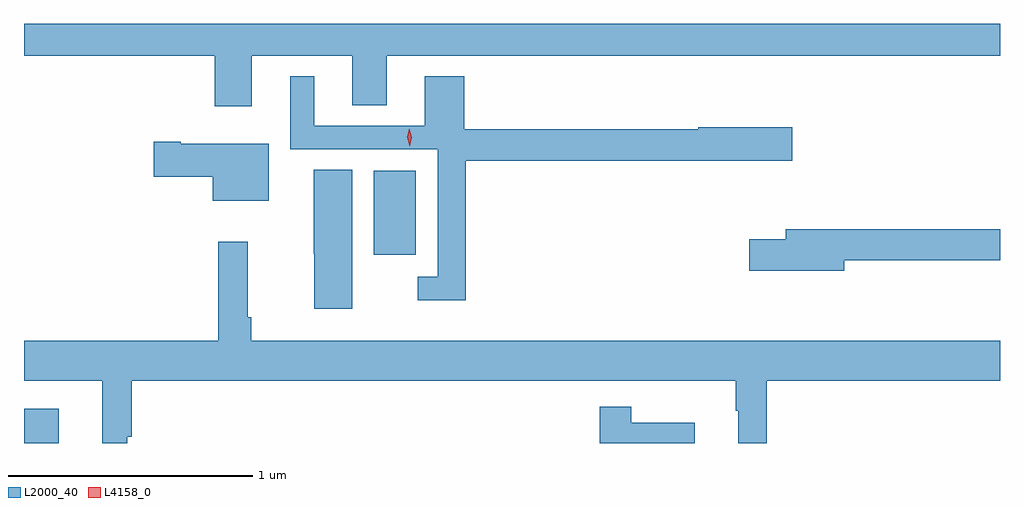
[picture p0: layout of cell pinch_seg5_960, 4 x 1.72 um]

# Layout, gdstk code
import gdstk
lib = gdstk.Library(unit=1e-6, precision=1e-09)
def R(c, l, rs):  # rectangles x0, y0, x1, y1
    for r in rs: c.add(gdstk.rectangle(r[:2], r[2:], *l))
def P(c, l, *ps):  # polygons
    for p in ps: c.add(gdstk.Polygon(p, *l))
L2000_40 = (2000, 40)
L4158_0 = (4158, 0)

pinch_seg5_960 = lib.new_cell('pinch_seg5_960')
R(pinch_seg5_960, L2000_40, [(743.559,913.779,743.701,913.921), (744.992,914.552,745.165,914.896)])
P(pinch_seg5_960, L2000_40, [(744.493,915.368),(744.905,915.368),(744.905,915.166),(745.045,915.166),(745.045,915.368),(747.559,915.368),(747.559,915.5),(743.559,915.5),(743.559,915.368),(744.341,915.368),(744.341,915.162),(744.493,915.162)],
  [(745.37,914.938),(746.707,914.938),(746.707,915.075),(746.322,915.075),(746.322,915.067),(745.364,915.067),(745.364,915.283),(745.202,915.283),(745.202,915.081),(744.748,915.081),(744.748,915.283),(744.65,915.283),(744.65,914.985),(745.254,914.985),(745.254,914.463),(745.173,914.463),(745.173,914.366),(745.37,914.366)],
  [(744.562,915.007),(744.202,915.007),(744.202,915.015),(744.09,915.015),(744.09,914.873),(744.332,914.873),(744.332,914.774),(744.562,914.774)],
  [(744.904,914.9),(744.746,914.9),(744.746,914.556),(744.749,914.556),(744.749,914.331),(744.904,914.331)],
  [(746.92,914.529),(747.559,914.529),(747.559,914.657),(746.681,914.657),(746.681,914.616),(746.532,914.616),(746.532,914.486),(746.92,914.486)],
  [(743.983,913.807),(744.001,913.807),(744.001,914.036),(746.475,914.036),(746.475,913.913),(746.486,913.913),(746.486,913.779),(746.603,913.779),(746.603,914.036),(747.559,914.036),(747.559,914.2),(744.491,914.2),(744.491,914.296),(744.476,914.296),(744.476,914.605),(744.355,914.605),(744.355,914.2),(743.559,914.2),(743.559,914.036),(743.879,914.036),(743.879,913.779),(743.983,913.779)],
  [(746.308,913.864),(746.047,913.864),(746.047,913.93),(745.918,913.93),(745.918,913.779),(746.308,913.779)])
P(pinch_seg5_960, L4158_0, [(745.14,914.997),(745.14,914.997),(745.129,915.033),(745.138,915.069),(745.138,915.069),(745.138,915.069),(745.149,915.033),(745.14,914.997)])

lib.write_gds('pinch_seg5_960.gds')
